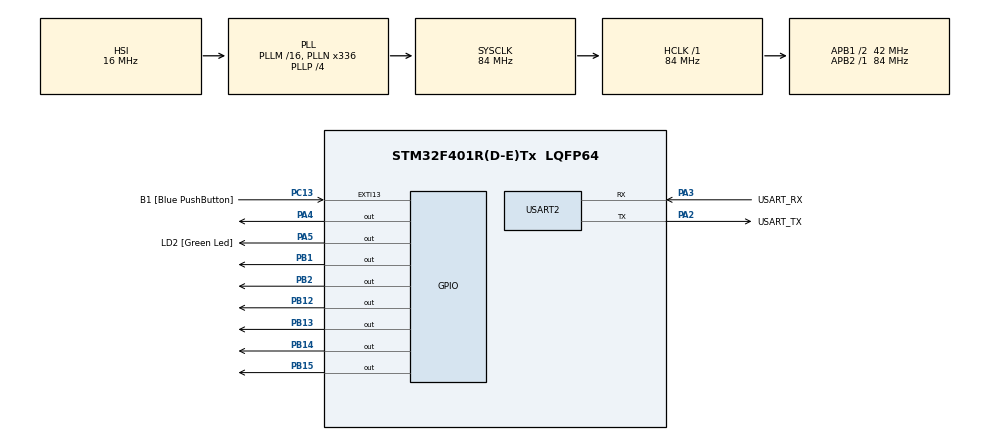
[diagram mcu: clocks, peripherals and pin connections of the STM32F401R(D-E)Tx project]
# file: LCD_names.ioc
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Mcu.Family=STM32F4
Mcu.Name=STM32F401R(D-E)Tx
Mcu.Package=LQFP64
NVIC.PriorityGroup=NVIC_PRIORITYGROUP_0
NVIC.TIM2_IRQn=true\:0\:0\:false\:false\:true\:true\:true\:true
PA13.GPIO_Label=TMS
PA13.Mode=Serial_Wire
PA13.Signal=SYS_JTMS-SWDIO
PA14.GPIO_Label=TCK
PA14.Mode=Serial_Wire
PA14.Signal=SYS_JTCK-SWCLK
PA2.GPIO_Label=USART_TX
PA2.GPIO_Mode=GPIO_MODE_AF_PP
PA2.GPIO_PuPd=GPIO_NOPULL
PA2.GPIO_Speed=GPIO_SPEED_FREQ_LOW
PA2.Mode=Asynchronous
PA2.Signal=USART2_TX
PA3.GPIO_Label=USART_RX
PA3.GPIO_Mode=GPIO_MODE_AF_PP
PA3.GPIO_PuPd=GPIO_NOPULL
PA3.GPIO_Speed=GPIO_SPEED_FREQ_LOW
PA3.Mode=Asynchronous
PA3.Signal=USART2_RX
PA4.Signal=GPIO_Output
PA5.GPIO_Label=LD2 [Green Led]
PA5.GPIO_Mode=GPIO_MODE_OUTPUT_PP
PA5.GPIO_PuPd=GPIO_NOPULL
PA5.GPIO_Speed=GPIO_SPEED_FREQ_LOW
PA5.Signal=GPIO_Output
PB1.Signal=GPIO_Output
PB12.Signal=GPIO_Output
PB13.Signal=GPIO_Output
PB14.Signal=GPIO_Output
PB15.Signal=GPIO_Output
PB2.Signal=GPIO_Output
PB3.GPIO_Label=SWO
PB3.Signal=SYS_JTDO-SWO
PC13-ANTI_TAMP.GPIO_Label=B1 [Blue PushButton]
PC13-ANTI_TAMP.GPIO_ModeDefaultEXTI=GPIO_MODE_IT_FALLING
PC13-ANTI_TAMP.GPIO_PuPd=GPIO_NOPULL
PC13-ANTI_TAMP.Signal=GPXTI13
PC14-OSC32_IN.Mode=LSE-External-Oscillator
PC14-OSC32_IN.Signal=RCC_OSC32_IN
PC15-OSC32_OUT.Mode=LSE-External-Oscillator
PC15-OSC32_OUT.Signal=RCC_OSC32_OUT
PH0\ -\ OSC_IN.Mode=HSE-External-Clock-Source
PH0\ -\ OSC_IN.Signal=RCC_OSC_IN
PH1\ -\ OSC_OUT.Mode=HSE-External-Clock-Source
PH1\ -\ OSC_OUT.Signal=RCC_OSC_OUT
ProjectManager.HeapSize=0x200
ProjectManager.StackSize=0x400
ProjectManager.TargetToolchain=STM32CubeIDE
RCC.48MHZClocksFreq_Value=48000000
RCC.AHBFreq_Value=84000000
RCC.APB1CLKDivider=RCC_HCLK_DIV2
RCC.APB1Freq_Value=42000000
RCC.APB1TimFreq_Value=84000000
RCC.APB2Freq_Value=84000000
RCC.APB2TimFreq_Value=84000000
RCC.CortexFreq_Value=84000000
RCC.HCLKFreq_Value=84000000
RCC.HSE_VALUE=8000000
RCC.HSI_VALUE=16000000
RCC.PLLN=336
RCC.PLLP=RCC_PLLP_DIV4
RCC.PLLQ=7
RCC.SYSCLKFreq_VALUE=84000000
RCC.SYSCLKSource=RCC_SYSCLKSOURCE_PLLCLK
RCC.VCOOutputFreq_Value=336000000
TIM2.Period=(TEMPO*10) - 1
TIM2.Prescaler=8400 - 1
USART2.VirtualMode=VM_ASYNC
VP_TIM2_VS_ClockSourceINT.Mode=Internal
board=NUCLEO-F401RE

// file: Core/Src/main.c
/* USER CODE BEGIN Header */
/**
  ******************************************************************************
  * @file           : main.c
  * @brief          : Main program body
  ******************************************************************************
  * @attention
  *
  * Copyright (c) 2024 STMicroelectronics.
  * All rights reserved.
  *
  * This software is licensed under terms that can be found in the LICENSE file
  * in the root directory of this software component.
  * If no LICENSE file comes with this software, it is provided AS-IS.
  *
  ******************************************************************************
  */
/* USER CODE END Header */
#include "main.h"

/* USER CODE BEGIN Includes */
#include "PMDB16_LCD.h"
/* USER CODE END Includes */

/* USER CODE BEGIN PD */
#define TEMPO 1000
/* USER CODE END PD */

TIM_HandleTypeDef htim2;

UART_HandleTypeDef huart2;

void SystemClock_Config(void);
static void MX_GPIO_Init(void);
static void MX_USART2_UART_Init(void);
static void MX_TIM2_Init(void);

/* USER CODE BEGIN 0 */

#define TEMPO 1000

char *names[] = {
	"Andre Maffezzini",
	"Giulio Lotto",
    "Marco La Barbera",
    "Matteo Pompilio",
    "Tommaso Majocchi"
};

uint8_t MEMBERS = sizeof(names)/sizeof(names[0]);

uint8_t row = 0;
uint8_t flag_first_round = 0;

int8_t name_index = 0;

void HAL_TIM_PeriodElapsedCallback (TIM_HandleTypeDef *htim)
{
	if (htim == &htim2) {

		lcd_clear();

		if (flag_first_round == 0) {

			lcd_println(names[name_index], row + 1); // initialized with member 1 on the bottom row
			flag_first_round = 1;

		}
		else {

			lcd_println(names[name_index], row); // print old names on top

			if (name_index == MEMBERS-1) 	// if LCD has reached the last name,
				name_index = -1; 			// reset name_index to -1 to allow row 96 to work properly and put first name on bottom

			lcd_println(names[name_index+1], row + 1); // print new names on bottom

			name_index++;
		}
	}
}
/* USER CODE END 0 */

int main(void)
{

  /* MCU Configuration--------------------------------------------------------*/

  /* Reset of all peripherals, Initializes the Flash interface and the Systick. */
  HAL_Init();

  /* Configure the system clock */
  SystemClock_Config();

  /* Initialize all configured peripherals */
  MX_GPIO_Init();
  MX_USART2_UART_Init();
  MX_TIM2_Init();
  /* USER CODE BEGIN 2 */

  lcd_initialize();
  lcd_backlight_ON ();

  HAL_TIM_Base_Start_IT(&htim2);

  /* USER CODE END 2 */

  /* Infinite loop */
  while (1)
  {

  }
}

void SystemClock_Config(void)
{
  RCC_OscInitTypeDef RCC_OscInitStruct = {0};
  RCC_ClkInitTypeDef RCC_ClkInitStruct = {0};

  /** Configure the main internal regulator output voltage
  */
  __HAL_RCC_PWR_CLK_ENABLE();
  __HAL_PWR_VOLTAGESCALING_CONFIG(PWR_REGULATOR_VOLTAGE_SCALE2);

  /** Initializes the RCC Oscillators according to the specified parameters
  * in the RCC_OscInitTypeDef structure.
  */
  RCC_OscInitStruct.OscillatorType = RCC_OSCILLATORTYPE_HSI;
  RCC_OscInitStruct.HSIState = RCC_HSI_ON;
  RCC_OscInitStruct.HSICalibrationValue = RCC_HSICALIBRATION_DEFAULT;
  RCC_OscInitStruct.PLL.PLLState = RCC_PLL_ON;
  RCC_OscInitStruct.PLL.PLLSource = RCC_PLLSOURCE_HSI;
  RCC_OscInitStruct.PLL.PLLM = 16;
  RCC_OscInitStruct.PLL.PLLN = 336;
  RCC_OscInitStruct.PLL.PLLP = RCC_PLLP_DIV4;
  RCC_OscInitStruct.PLL.PLLQ = 7;
  if (HAL_RCC_OscConfig(&RCC_OscInitStruct) != HAL_OK)
  {
    Error_Handler();
  }

  /** Initializes the CPU, AHB and APB buses clocks
  */
  RCC_ClkInitStruct.ClockType = RCC_CLOCKTYPE_HCLK|RCC_CLOCKTYPE_SYSCLK
                              |RCC_CLOCKTYPE_PCLK1|RCC_CLOCKTYPE_PCLK2;
  RCC_ClkInitStruct.SYSCLKSource = RCC_SYSCLKSOURCE_PLLCLK;
  RCC_ClkInitStruct.AHBCLKDivider = RCC_SYSCLK_DIV1;
  RCC_ClkInitStruct.APB1CLKDivider = RCC_HCLK_DIV2;
  RCC_ClkInitStruct.APB2CLKDivider = RCC_HCLK_DIV1;

  if (HAL_RCC_ClockConfig(&RCC_ClkInitStruct, FLASH_LATENCY_2) != HAL_OK)
  {
    Error_Handler();
  }
}

static void MX_TIM2_Init(void)
{

  TIM_ClockConfigTypeDef sClockSourceConfig = {0};
  TIM_MasterConfigTypeDef sMasterConfig = {0};

  htim2.Instance = TIM2;
  htim2.Init.Prescaler = 8400 - 1;
  htim2.Init.CounterMode = TIM_COUNTERMODE_UP;
  htim2.Init.Period = (TEMPO*10) - 1;
  htim2.Init.ClockDivision = TIM_CLOCKDIVISION_DIV1;
  htim2.Init.AutoReloadPreload = TIM_AUTORELOAD_PRELOAD_DISABLE;
  if (HAL_TIM_Base_Init(&htim2) != HAL_OK)
  {
    Error_Handler();
  }
  sClockSourceConfig.ClockSource = TIM_CLOCKSOURCE_INTERNAL;
  if (HAL_TIM_ConfigClockSource(&htim2, &sClockSourceConfig) != HAL_OK)
  {
    Error_Handler();
  }
  sMasterConfig.MasterOutputTrigger = TIM_TRGO_RESET;
  sMasterConfig.MasterSlaveMode = TIM_MASTERSLAVEMODE_DISABLE;
  if (HAL_TIMEx_MasterConfigSynchronization(&htim2, &sMasterConfig) != HAL_OK)
  {
    Error_Handler();
  }

}

static void MX_USART2_UART_Init(void)
{

  huart2.Instance = USART2;
  huart2.Init.BaudRate = 115200;
  huart2.Init.WordLength = UART_WORDLENGTH_8B;
  huart2.Init.StopBits = UART_STOPBITS_1;
  huart2.Init.Parity = UART_PARITY_NONE;
  huart2.Init.Mode = UART_MODE_TX_RX;
  huart2.Init.HwFlowCtl = UART_HWCONTROL_NONE;
  huart2.Init.OverSampling = UART_OVERSAMPLING_16;
  if (HAL_UART_Init(&huart2) != HAL_OK)
  {
    Error_Handler();
  }

}

static void MX_GPIO_Init(void)
{
  GPIO_InitTypeDef GPIO_InitStruct = {0};

  /* GPIO Ports Clock Enable */
  __HAL_RCC_GPIOC_CLK_ENABLE();
  __HAL_RCC_GPIOH_CLK_ENABLE();
  __HAL_RCC_GPIOA_CLK_ENABLE();
  __HAL_RCC_GPIOB_CLK_ENABLE();

  /*Configure GPIO pin Output Level */
  HAL_GPIO_WritePin(GPIOA, GPIO_PIN_4|LD2_Pin, GPIO_PIN_RESET);

  /*Configure GPIO pin Output Level */
  HAL_GPIO_WritePin(GPIOB, GPIO_PIN_1|GPIO_PIN_2|GPIO_PIN_12|GPIO_PIN_13
                          |GPIO_PIN_14|GPIO_PIN_15, GPIO_PIN_RESET);

  /*Configure GPIO pin : B1_Pin */
  GPIO_InitStruct.Pin = B1_Pin;
  GPIO_InitStruct.Mode = GPIO_MODE_IT_FALLING;
  GPIO_InitStruct.Pull = GPIO_NOPULL;
  HAL_GPIO_Init(B1_GPIO_Port, &GPIO_InitStruct);

  /*Configure GPIO pins : PA4 LD2_Pin */
  GPIO_InitStruct.Pin = GPIO_PIN_4|LD2_Pin;
  GPIO_InitStruct.Mode = GPIO_MODE_OUTPUT_PP;
  GPIO_InitStruct.Pull = GPIO_NOPULL;
  GPIO_InitStruct.Speed = GPIO_SPEED_FREQ_LOW;
  HAL_GPIO_Init(GPIOA, &GPIO_InitStruct);

  /*Configure GPIO pins : PB1 PB2 PB12 PB13
                           PB14 PB15 */
  GPIO_InitStruct.Pin = GPIO_PIN_1|GPIO_PIN_2|GPIO_PIN_12|GPIO_PIN_13
                          |GPIO_PIN_14|GPIO_PIN_15;
  GPIO_InitStruct.Mode = GPIO_MODE_OUTPUT_PP;
  GPIO_InitStruct.Pull = GPIO_NOPULL;
  GPIO_InitStruct.Speed = GPIO_SPEED_FREQ_LOW;
  HAL_GPIO_Init(GPIOB, &GPIO_InitStruct);

}

void Error_Handler(void)
{
  __disable_irq();
  while (1)
  {
  }
}
